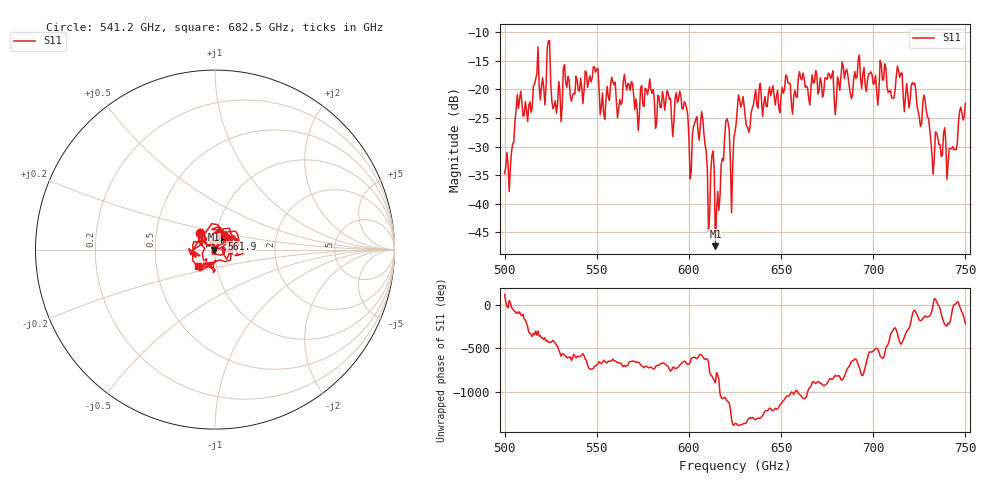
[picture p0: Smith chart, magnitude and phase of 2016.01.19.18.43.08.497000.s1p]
!Created with skrf (http://scikit-rf.org).
# GHz S RI R 50.0
!freq ReS11 ImS11
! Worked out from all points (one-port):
!   401 points, 500 GHz to 750 GHz, reference 50 ohm
!   lowest |S11| = -47.4 dB at 614.4 GHz (marker M1), VSWR 1.01, Z = 49.6 - j0.0597 ohm
!   |S11| at or under -10 dB: start of sweep to end of sweep
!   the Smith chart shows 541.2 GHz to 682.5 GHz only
!   S11 on the Smith chart (normalised r, x): 541.2 GHz: 0.83, +0.16; 561.9 GHz: 1.06, +0.13; 682.5 GHz: 0.81, -0.15
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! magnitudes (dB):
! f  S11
! 500 GHz  -34.8
! 507.5 GHz  -23.3
! 513.8 GHz  -22.2
! 516.9 GHz  -18.1
! 531.2 GHz  -22.8
! 541.2 GHz  -18.0
! 549.4 GHz  -17.0
! 553.1 GHz  -20.6
! 558.8 GHz  -18.8
! 561.9 GHz  -23.3
! 562.5 GHz  -21.8
! 593.8 GHz  -22.3
! 601.2 GHz  -34.5
! 607.5 GHz  -25.0
! 610 GHz  -34.0
! 614.4 GHz  -47.4
! 615.6 GHz  -37.8
! 620.6 GHz  -25.1
! 623.1 GHz  -41.6
! 625 GHz  -27.4
! 628.1 GHz  -23.1
! 631.9 GHz  -26.6
! 656.2 GHz  -24.3
! 682.5 GHz  -17.6
! 687.5 GHz  -20.5
! 718.8 GHz  -20.8
! 741.2 GHz  -30.3
! 750 GHz  -22.4
